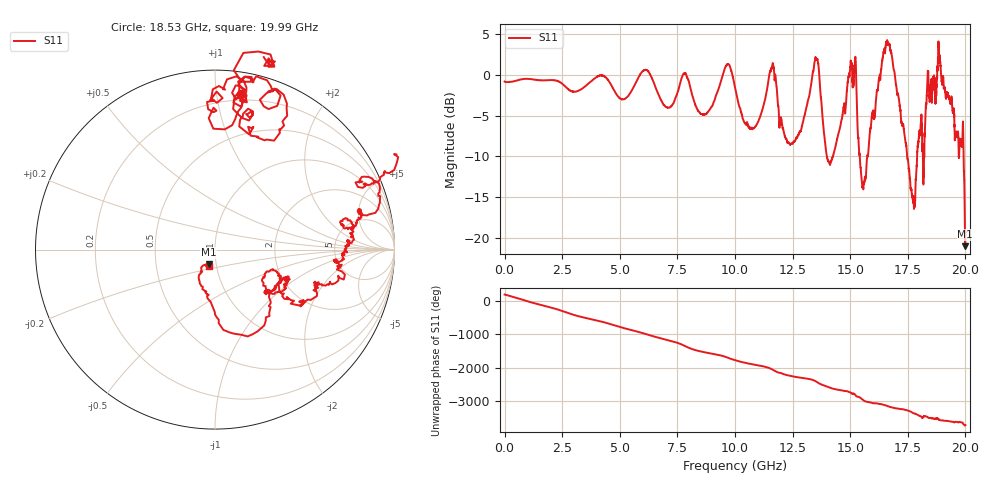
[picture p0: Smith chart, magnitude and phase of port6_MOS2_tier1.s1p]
! Created with skrf 1.8.0 (http://scikit-rf.org).
# GHz S RI R 50.0
!freq ReS11 ImS11
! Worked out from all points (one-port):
!   10001 points, 1 MHz to 20 GHz, reference 50 ohm
!   lowest |S11| = -21.1 dB at 19.99 GHz (marker M1), VSWR 1.19, Z = 46.1 - j7.57 ohm
!   |S11| at or under -10 dB: 13.98 GHz to 14.25 GHz (269.6 MHz wide, 1.91 % of centre); 15.42 GHz to 15.74 GHz (327.1 MHz wide, 2.1 % of centre); 17.47 GHz to 17.9 GHz (432.2 MHz wide, 2.44 % of centre) (the widest 3 of 9)
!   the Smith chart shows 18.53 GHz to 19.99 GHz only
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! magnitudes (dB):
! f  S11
! 1 MHz  -0.8
! 2.501 GHz  -1.1
! 5.001 GHz  -2.9
! 6.097 GHz  0.6
! 6.995 GHz  -3.9
! 7.501 GHz  -2.2
! 7.841 GHz  0.2
! 8.667 GHz  -4.9
! 9.651 GHz  1.3
! 10 GHz  -1.5
! 10.8 GHz  -6.6
! 11.61 GHz  1.0
! 12.5 GHz  -8.4
! 13.53 GHz  1.9
! 14.16 GHz  -10.7
! 15 GHz  0.9
! 15.21 GHz  2.0
! 15.57 GHz  -14.0
! 16.63 GHz  3.9
! 17.5 GHz  -10.4
! 17.76 GHz  -15.8
! 18.01 GHz  -7.1
! 18.21 GHz  -9.3
! 18.36 GHz  -0.4
! 18.87 GHz  2.2
! 19.84 GHz  -8.7
! 19.99 GHz  -21.1
! 20 GHz  -19.3
